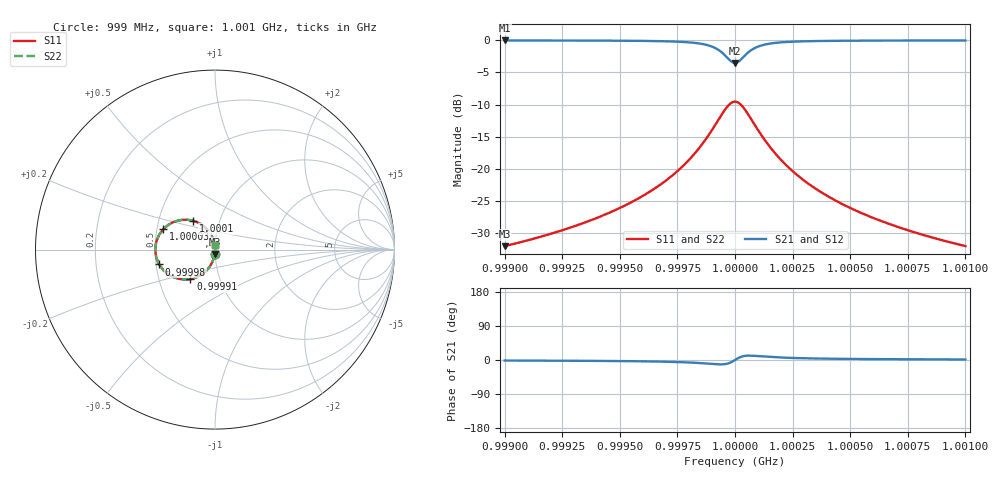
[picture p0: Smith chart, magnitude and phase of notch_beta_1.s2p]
! Created Tue Mar  9 10:57:58 2021
# hz S db R 50
! 2 Port Network Data from SP1.SP block
! freq  dbS11  angS11  dbS21  angS21  dbS12  angS12  dbS22  angS22
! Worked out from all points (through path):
!   201 points, 999 MHz to 1.001 GHz, reference 50 ohm
!   highest |S21| = -0.01 dB at 999 MHz (marker M1); lowest = -3.5 dB at 1 GHz (marker M2)
!   lowest |S11| = -32.1 dB at 999 MHz (marker M3), VSWR 1.05, Z = 49.8 - j2.47 ohm
!   |S11| at or under -10 dB: start of sweep to 999.9754 MHz; 1.000025 GHz to end of sweep
!   |S22| runs from -32.1 to -9.5 dB; largest |S21 - S12| = 0
!   S11 on the Smith chart (normalised r, x): 999 MHz: 1.00, -0.05; 999.91 MHz: 0.72, -0.25; 999.98 MHz: 0.52, -0.10; 1.00003 GHz: 0.54, +0.14; 1.0001 GHz: 0.75, +0.25; 1.001 GHz: 1.00, +0.05
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9.99e8  -32.07 -94.3  -0.01 -1.4  -0.01 -1.4  -32.07 -94.3
9.9934e8  -28.49 -96.5  -0.03 -2.2  -0.03 -2.2  -28.49 -96.5
9.9952e8  -25.77 -98.9  -0.06 -2.9  -0.06 -2.9  -25.77 -98.9
9.9967e8  -22.63 -102.8  -0.12 -4.2  -0.12 -4.2  -22.63 -102.8
9.9974e8  -20.69 -106.1  -0.19 -5.2  -0.19 -5.2  -20.69 -106.1
9.998e8  -18.63 -110.6  -0.31 -6.5  -0.31 -6.5  -18.63 -110.6
9.9986e8  -16.06 -118.2  -0.57 -8.5  -0.57 -8.5  -16.06 -118.2
9.9991e8  -13.42 -129.8  -1.12 -10.8  -1.12 -10.8  -13.42 -129.8
9.9995e8  -11.14 -146.3  -2.11 -11.3  -2.11 -11.3  -11.14 -146.3
9.9998e8  -9.84 -165.1  -3.18 -6.9  -3.18 -6.9  -9.84 -165.1
1e9  -9.54 180.0  -3.52 0.0  -3.52 0.0  -9.54 180.0
1.00001e9  -9.62 172.4  -3.43 3.7  -3.43 3.7  -9.62 172.4
1.00003e9  -10.19 158.2  -2.83 9.2  -2.83 9.2  -10.19 158.2
1.00006e9  -11.69 141.3  -1.80 11.5  -1.80 11.5  -11.69 141.3
1.0001e9  -13.98 126.9  -0.97 10.3  -0.97 10.3  -13.98 126.9
1.00015e9  -16.53 116.6  -0.51 8.1  -0.51 8.1  -16.53 116.6
1.00021e9  -19.01 109.7  -0.28 6.3  -0.28 6.3  -19.01 109.7
1.00027e9  -20.99 105.5  -0.18 5.0  -0.18 5.0  -20.99 105.5
1.00034e9  -22.88 102.4  -0.11 4.1  -0.11 4.1  -22.88 102.4
1.00049e9  -25.94 98.7  -0.06 2.9  -0.06 2.9  -25.94 98.7
1.00067e9  -28.61 96.4  -0.03 2.1  -0.03 2.1  -28.61 96.4
1.001e9  -32.06 94.3  -0.01 1.4  -0.01 1.4  -32.06 94.3
